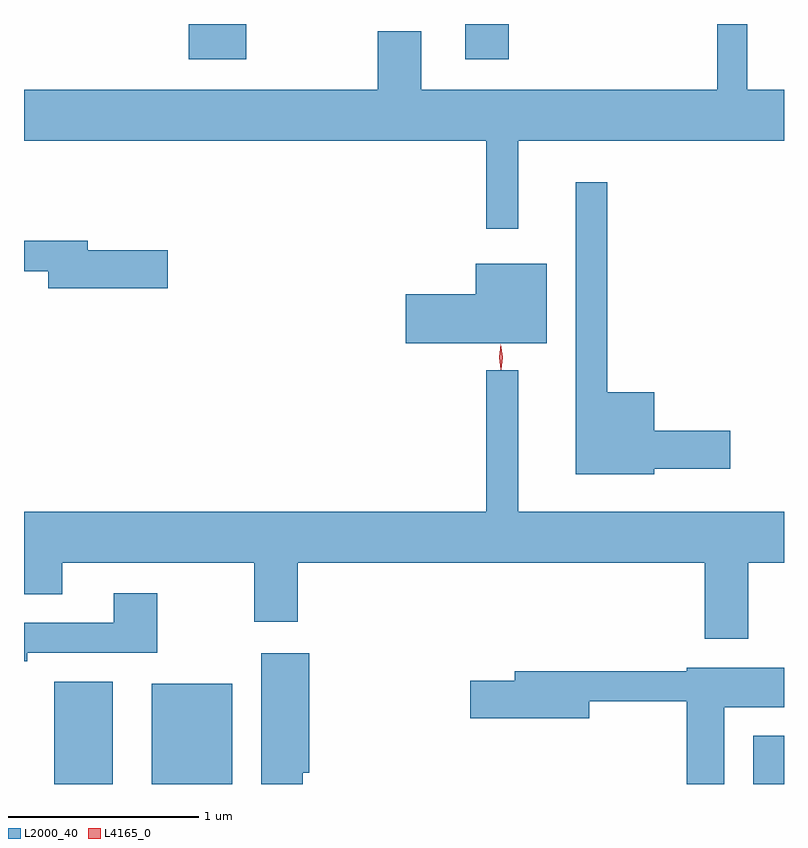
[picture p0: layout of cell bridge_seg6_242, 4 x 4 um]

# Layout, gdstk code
import gdstk
lib = gdstk.Library(unit=1e-6, precision=1e-09)
def R(c, l, rs):  # rectangles x0, y0, x1, y1
    for r in rs: c.add(gdstk.rectangle(r[:2], r[2:], *l))
def P(c, l, *ps):  # polygons
    for p in ps: c.add(gdstk.Polygon(p, *l))
L2000_40 = (2000, 40)
L4165_0 = (4165, 0)

bridge_seg6_242 = lib.new_cell('bridge_seg6_242')
R(bridge_seg6_242, L2000_40, [(1377.836,1575.511,1378.144,1576.049), (1378.351,1575.511,1378.774,1576.039), (1381.516,1575.511,1381.678,1575.764), (1378.546,1579.326,1378.849,1579.511), (1380.001,1579.326,1380.229,1579.511)])
P(bridge_seg6_242, L2000_40, [(1380.279,1578.896),(1381.678,1578.896),(1381.678,1579.164),(1381.484,1579.164),(1381.484,1579.511),(1381.326,1579.511),(1381.326,1579.164),(1379.769,1579.164),(1379.769,1579.474),(1379.541,1579.474),(1379.541,1579.164),(1377.678,1579.164),(1377.678,1578.896),(1380.111,1578.896),(1380.111,1578.433),(1380.279,1578.433)],
  [(1380.994,1577.171),(1381.394,1577.171),(1381.394,1577.369),(1380.994,1577.369),(1380.994,1577.574),(1380.749,1577.574),(1380.749,1578.678),(1380.581,1578.678),(1380.581,1577.141),(1380.994,1577.141)],
  [(1378.434,1578.319),(1378.014,1578.319),(1378.014,1578.369),(1377.678,1578.369),(1377.678,1578.211),(1377.806,1578.211),(1377.806,1578.121),(1378.434,1578.121)],
  [(1380.429,1578.249),(1380.056,1578.249),(1380.056,1578.089),(1379.686,1578.089),(1379.686,1577.831),(1380.429,1577.831)],
  [(1381.489,1576.676),(1381.678,1576.676),(1381.678,1576.944),(1380.279,1576.944),(1380.279,1577.688),(1380.111,1577.688),(1380.111,1576.944),(1377.678,1576.944),(1377.678,1576.511),(1377.879,1576.511),(1377.879,1576.676),(1378.891,1576.676),(1378.891,1576.366),(1379.119,1576.366),(1379.119,1576.676),(1381.261,1576.676),(1381.261,1576.276),(1381.489,1576.276)],
  [(1377.694,1576.201),(1378.379,1576.201),(1378.379,1576.514),(1378.151,1576.514),(1378.151,1576.359),(1377.678,1576.359),(1377.678,1576.156),(1377.694,1576.156)],
  [(1379.144,1575.571),(1379.179,1575.571),(1379.179,1576.199),(1378.926,1576.199),(1378.926,1575.511),(1379.144,1575.511)],
  [(1381.364,1575.916),(1381.678,1575.916),(1381.678,1576.124),(1381.166,1576.124),(1381.166,1576.104),(1380.261,1576.104),(1380.261,1576.054),(1380.026,1576.054),(1380.026,1575.856),(1380.654,1575.856),(1380.654,1575.946),(1381.166,1575.946),(1381.166,1575.511),(1381.364,1575.511)])
P(bridge_seg6_242, L4165_0, [(1380.188,1577.693),(1380.188,1577.694),(1380.178,1577.756),(1380.187,1577.819),(1380.187,1577.82),(1380.188,1577.819),(1380.198,1577.756),(1380.189,1577.694)],
  [(1380.188,1577.69),(1380.188,1577.69),(1380.178,1577.758),(1380.187,1577.825),(1380.188,1577.826),(1380.188,1577.825),(1380.198,1577.758),(1380.189,1577.69)])

lib.write_gds('bridge_seg6_242.gds')
